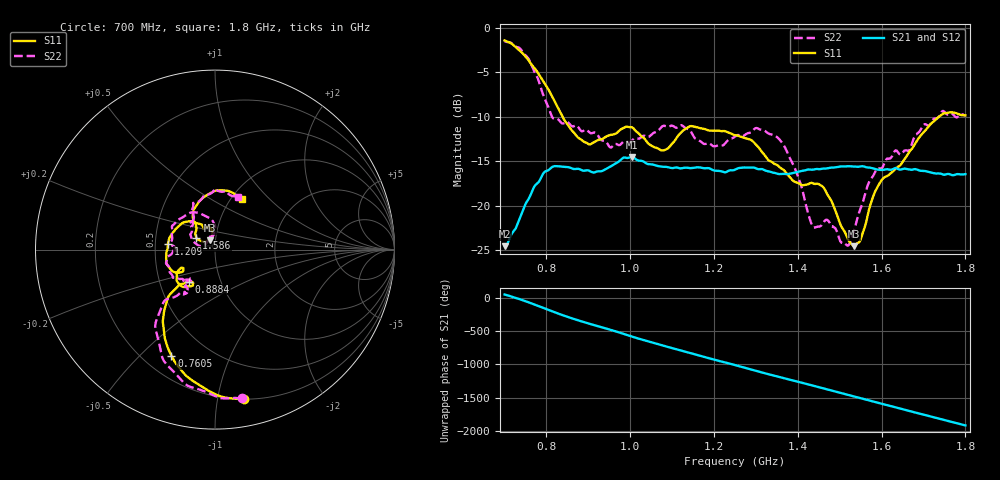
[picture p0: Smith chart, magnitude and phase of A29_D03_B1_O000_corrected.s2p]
! Created with skrf 1.9.0 (http://scikit-rf.org).
# Hz S RI R 50.0
!freq ReS11 ImS11 ReS21 ImS21 ReS12 ImS12 ReS22 ImS22
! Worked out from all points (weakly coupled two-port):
!   1601 points, 700 MHz to 1.8 GHz, reference 50 ohm
!   highest |S21| = -14.52 dB at 1.004 GHz (marker M1); lowest = -24.6 dB at 701.4 MHz (marker M2)
!   lowest |S11| = -24.6 dB at 1.534 GHz (marker M3), VSWR 1.13, Z = 47.2 + j4.99 ohm
!   |S11| at or under -10 dB: 838.3 MHz to 1.737 GHz (898.4 MHz wide, 69.8 % of centre)
!   |S22| runs from -24.5 to -1.5 dB; largest |S21 - S12| = 0.0035
!   S11 on the Smith chart (normalised r, x): 700 MHz: 0.20, -1.19; 760.5 MHz: 0.31, -0.62; 888.4 MHz: 0.71, -0.27; 1.209 GHz: 0.58, +0.04; 1.586 GHz: 0.81, +0.11; 1.8 GHz: 1.12, +0.71
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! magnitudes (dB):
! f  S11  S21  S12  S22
! 700 MHz  -1.4  -24.6  -24.3  -1.5
! 701.4 MHz  -1.4  -24.6  -24.2  -1.5
! 760.5 MHz  -3.9  -19.0  -18.8  -3.8
! 814.8 MHz  -7.9  -15.6  -15.7  -10.1
! 883.6 MHz  -12.6  -16.0  -15.9  -11.6
! 888.4 MHz  -12.8  -16.1  -16.0  -11.6
! 953 MHz  -12.0  -15.6  -15.6  -13.5
! 1.004 GHz  -11.2  -14.5  -14.7  -12.7
! 1.067 GHz  -13.6  -15.6  -15.5  -11.6
! 1.142 GHz  -11.1  -15.8  -15.7  -11.5
! 1.209 GHz  -11.5  -16.1  -16.1  -13.2
! 1.25 GHz  -12.1  -16.0  -15.9  -12.2
! 1.357 GHz  -15.7  -16.5  -16.4  -12.6
! 1.396 GHz  -17.4  -16.2  -16.2  -16.2
! 1.434 GHz  -17.5  -16.0  -15.9  -22.2
! 1.464 GHz  -18.1  -15.8  -15.8  -21.7
! 1.517 GHz  -23.6  -15.6  -15.6  -24.5
! 1.534 GHz  -24.6  -15.6  -15.6  -22.9
! 1.586 GHz  -18.3  -15.9  -15.9  -16.1
! 1.617 GHz  -16.6  -15.9  -15.9  -14.7
! 1.739 GHz  -9.9  -16.4  -16.4  -9.8
! 1.8 GHz  -9.8  -16.5  -16.5  -9.9
